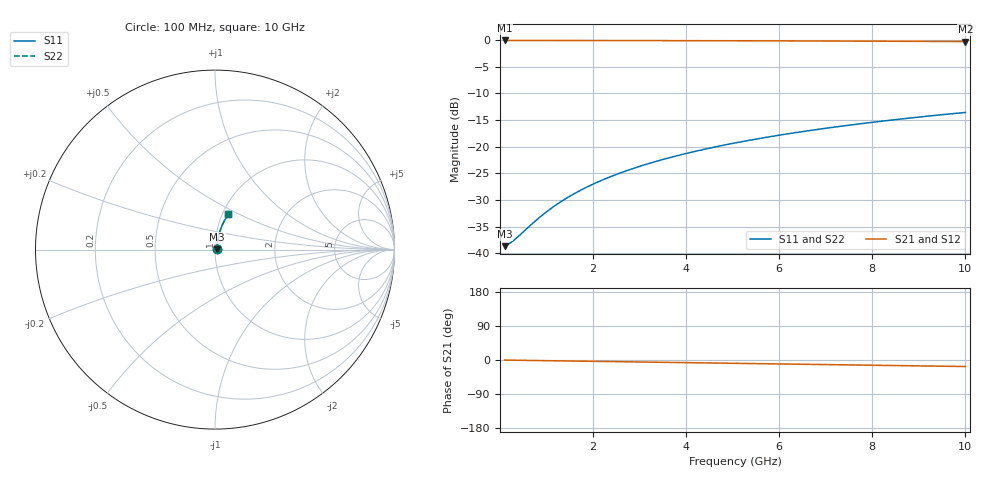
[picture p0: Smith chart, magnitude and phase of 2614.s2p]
# Hz S RI R 50.00
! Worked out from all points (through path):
!   100 points, 100 MHz to 10 GHz, reference 50 ohm
!   highest |S21| = -0.10 dB at 100 MHz (marker M1); lowest = -0.3 dB at 10 GHz (marker M2)
!   group delay of S21, straight-line fit = 4.78 ps
!   lowest |S11| = -38.7 dB at 100 MHz (marker M3), VSWR 1.02, Z = 51.2 + j0.216 ohm
!   |S11| at or under -10 dB: start of sweep to end of sweep
!   |S22| runs from -38.7 to -13.6 dB; largest |S21 - S12| = 0
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1e8  0.0115 0.00211  0.9885 -0.003  0.9885 -0.003  0.0115 0.00211
2e8  0.0116 0.00422  0.9884 -0.00601  0.9884 -0.00601  0.0116 0.00422
3e8  0.0117 0.00633  0.9883 -0.00901  0.9883 -0.00901  0.0117 0.00633
8e8  0.0122 0.0169  0.9878 -0.024  0.9878 -0.024  0.0122 0.0169
9e8  0.0123 0.019  0.9876 -0.027  0.9876 -0.027  0.0123 0.019
1.1e9  0.0126 0.0232  0.9873 -0.033  0.9873 -0.033  0.0126 0.0232
1.4e9  0.0132 0.0295  0.9868 -0.042  0.9868 -0.042  0.0132 0.0295
1.6e9  0.0136 0.0337  0.9863 -0.048  0.9863 -0.048  0.0136 0.0337
1.8e9  0.014 0.0378  0.9858 -0.0539  0.9858 -0.0539  0.014 0.0378
2.1e9  0.0148 0.0441  0.985 -0.0629  0.985 -0.0629  0.0148 0.0441
2.5e9  0.0161 0.0524  0.9837 -0.0748  0.9837 -0.0748  0.0161 0.0524
2.9e9  0.0175 0.0607  0.9822 -0.0867  0.9822 -0.0867  0.0175 0.0607
3.4e9  0.0195 0.071  0.98 -0.1015  0.98 -0.1015  0.0195 0.071
3.8e9  0.0214 0.0792  0.978 -0.1132  0.978 -0.1132  0.0214 0.0792
4.2e9  0.0234 0.0873  0.9758 -0.1249  0.9758 -0.1249  0.0234 0.0873
4.6e9  0.0257 0.0954  0.9734 -0.1366  0.9734 -0.1366  0.0257 0.0954
5.1e9  0.0288 0.1054  0.9701 -0.1511  0.9701 -0.1511  0.0288 0.1054
5.9e9  0.0343 0.1211  0.9643 -0.174  0.9643 -0.174  0.0343 0.1211
6.7e9  0.0405 0.1365  0.9576 -0.1966  0.9576 -0.1966  0.0405 0.1365
7.5e9  0.0475 0.1515  0.9502 -0.2188  0.9502 -0.2188  0.0475 0.1515
8.4e9  0.0561 0.1679  0.9409 -0.2434  0.9409 -0.2434  0.0561 0.1679
1e10  0.0735 0.1957  0.9224 -0.2856  0.9224 -0.2856  0.0735 0.1957
